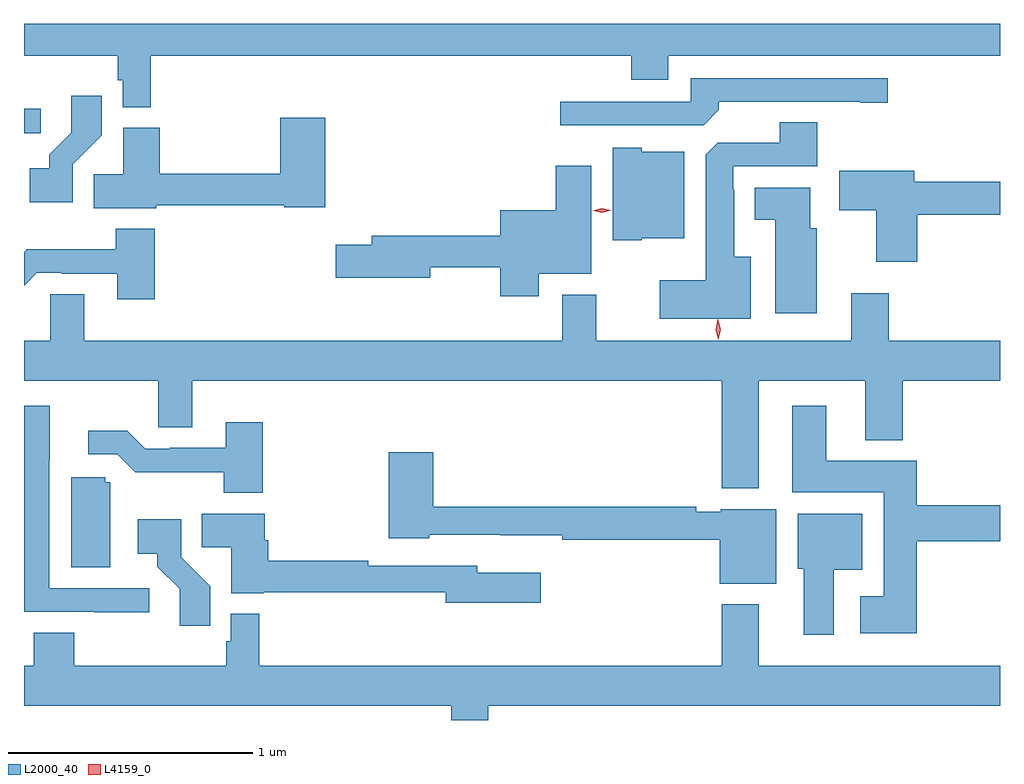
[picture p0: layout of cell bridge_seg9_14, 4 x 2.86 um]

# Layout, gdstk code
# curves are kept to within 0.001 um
import gdstk
lib = gdstk.Library(unit=1e-6, precision=1e-09)
def R(c, l, rs):  # rectangles x0, y0, x1, y1
    for r in rs: c.add(gdstk.rectangle(r[:2], r[2:], *l))
def P(c, l, *ps):  # polygons
    for p in ps: c.add(gdstk.Polygon(p, *l))
L2000_40 = (2000, 40)
L4159_0 = (4159, 0)

bridge_seg9_14 = lib.new_cell('bridge_seg9_14')
R(bridge_seg9_14, L2000_40, [(957.931,1248.051,958,1248.15)])
P(bridge_seg9_14, L2000_40, [(957.931,1248.368),(958.315,1248.368),(958.315,1248.267),(958.335,1248.267),(958.335,1248.158),(958.451,1248.158),(958.451,1248.368),(960.419,1248.368),(960.419,1248.269),(960.571,1248.269),(960.571,1248.368),(961.931,1248.368),(961.931,1248.5),(957.931,1248.5)],
  [(960.779,1248.146),(960.779,1248.18),(961.358,1248.18),(961.358,1248.175),(961.471,1248.175),(961.471,1248.276),(960.663,1248.276),(960.663,1248.18),(960.129,1248.18),(960.129,1248.084),(960.717,1248.084)],
  [(958.131,1247.923),(958.25,1248.042),(958.25,1248.205),(958.125,1248.205),(958.125,1248.053),(958.034,1247.963),(958.034,1247.908),(957.954,1247.908),(957.954,1247.768),(958.131,1247.768)],
  [(958.474,1247.755),(958.998,1247.755),(958.998,1247.747),(959.165,1247.747),(959.165,1248.115),(958.982,1248.115),(958.982,1247.884),(958.487,1247.884),(958.487,1248.073),(958.337,1248.073),(958.337,1247.882),(958.216,1247.882),(958.216,1247.744),(958.474,1247.744)],
  [(960.91,1247.545),(960.841,1247.545),(960.841,1247.819),(960.837,1247.819),(960.837,1247.916),(961.181,1247.916),(961.181,1248.095),(961.028,1248.095),(961.028,1248.012),(960.774,1248.012),(960.725,1247.963),(960.725,1247.449),(960.537,1247.449),(960.537,1247.291),(960.91,1247.291)],
  [(960.462,1247.621),(960.637,1247.621),(960.637,1247.974),(960.462,1247.974),(960.462,1247.992),(960.344,1247.992),(960.344,1247.612),(960.462,1247.612)],
  [(960.04,1247.474),(960.256,1247.474),(960.256,1247.917),(960.11,1247.917),(960.11,1247.734),(959.882,1247.734),(959.882,1247.63),(959.357,1247.63),(959.357,1247.594),(959.208,1247.594),(959.208,1247.459),(959.596,1247.459),(959.596,1247.502),(959.882,1247.502),(959.882,1247.382),(960.04,1247.382)],
  [(961.592,1247.716),(961.931,1247.716),(961.931,1247.852),(961.579,1247.852),(961.579,1247.896),(961.272,1247.896),(961.272,1247.734),(961.424,1247.734),(961.424,1247.523),(961.592,1247.523)],
  [(961.18,1247.661),(961.153,1247.661),(961.153,1247.827),(960.926,1247.827),(960.926,1247.696),(961.01,1247.696),(961.01,1247.313),(961.18,1247.313)],
  [(958.466,1247.659),(958.306,1247.659),(958.306,1247.575),(957.943,1247.575),(957.931,1247.563),(957.931,1247.425),(957.984,1247.478),(958.084,1247.478),(958.084,1247.475),(958.313,1247.475),(958.313,1247.37),(958.466,1247.37)],
  [(960.943,1247.036),(961.379,1247.036),(961.379,1246.793),(961.532,1246.793),(961.532,1247.036),(961.931,1247.036),(961.931,1247.2),(961.475,1247.2),(961.475,1247.395),(961.322,1247.395),(961.322,1247.2),(960.277,1247.2),(960.277,1247.389),(960.137,1247.389),(960.137,1247.2),(958.177,1247.2),(958.177,1247.39),(958.038,1247.39),(958.038,1247.2),(957.931,1247.2),(957.931,1247.036),(958.482,1247.036),(958.482,1246.846),(958.621,1246.846),(958.621,1247.036),(960.791,1247.036),(960.791,1246.595),(960.943,1246.595)],
  [(958.444,1246.185),(958.035,1246.185),(958.035,1246.71),(958.036,1246.71),(958.036,1246.933),(957.931,1246.933),(957.931,1246.089),(958.219,1246.089),(958.219,1246.087),(958.444,1246.087)],
  [(961.589,1246.379),(961.931,1246.379),(961.931,1246.526),(961.589,1246.526),(961.589,1246.708),(961.219,1246.708),(961.219,1246.933),(961.079,1246.933),(961.079,1246.58),(961.454,1246.58),(961.454,1246.153),(961.359,1246.153),(961.359,1246.001),(961.589,1246.001)],
  [(958.91,1246.867),(958.757,1246.867),(958.757,1246.761),(958.528,1246.761),(958.528,1246.758),(958.428,1246.758),(958.355,1246.831),(958.194,1246.831),(958.194,1246.734),(958.314,1246.734),(958.387,1246.661),(958.75,1246.662),(958.75,1246.577),(958.91,1246.577)],
  [(961.015,1246.51),(960.786,1246.51),(960.786,1246.5),(960.686,1246.5),(960.686,1246.52),(959.609,1246.52),(959.609,1246.744),(959.426,1246.744),(959.426,1246.391),(959.592,1246.391),(959.592,1246.404),(959.884,1246.404),(959.884,1246.403),(960.136,1246.403),(960.136,1246.384),(960.782,1246.384),(960.782,1246.205),(961.015,1246.205)],
  [(958.285,1246.62),(958.263,1246.62),(958.263,1246.641),(958.124,1246.641),(958.124,1246.272),(958.285,1246.272)],
  [(961.249,1246.262),(961.366,1246.262),(961.366,1246.492),(961.103,1246.492),(961.103,1246.266),(961.127,1246.266),(961.127,1245.996),(961.249,1245.996)],
  [(960.049,1246.249),(959.788,1246.249),(959.788,1246.278),(959.342,1246.278),(959.342,1246.298),(958.931,1246.298),(958.931,1246.382),(958.918,1246.382),(958.918,1246.492),(958.66,1246.492),(958.66,1246.354),(958.781,1246.354),(958.781,1246.166),(958.914,1246.166),(958.914,1246.17),(959.66,1246.17),(959.66,1246.127),(960.049,1246.127)],
  [(958.694,1246.194),(958.575,1246.313),(958.575,1246.468),(958.398,1246.468),(958.398,1246.328),(958.478,1246.328),(958.478,1246.273),(958.569,1246.183),(958.569,1246.032),(958.694,1246.032)],
  [(959.833,1245.704),(961.931,1245.704),(961.931,1245.868),(960.943,1245.868),(960.943,1246.12),(960.791,1246.12),(960.791,1245.868),(958.895,1245.868),(958.895,1246.081),(958.779,1246.081),(958.779,1245.969),(958.759,1245.969),(958.759,1245.868),(958.136,1245.868),(958.136,1246.004),(957.971,1246.004),(957.971,1245.868),(957.931,1245.868),(957.931,1245.704),(959.681,1245.704),(959.681,1245.644),(959.833,1245.644)])
P(bridge_seg9_14, L4159_0, [(960.776,1247.205),(960.776,1247.205),(960.766,1247.245),(960.775,1247.286),(960.776,1247.286),(960.776,1247.286),(960.786,1247.246),(960.776,1247.205)],
  [(960.3,1247.724),(960.262,1247.733),(960.261,1247.733),(960.262,1247.733),(960.299,1247.744),(960.337,1247.735),(960.338,1247.734),(960.337,1247.734)])

lib.write_gds('bridge_seg9_14.gds')
